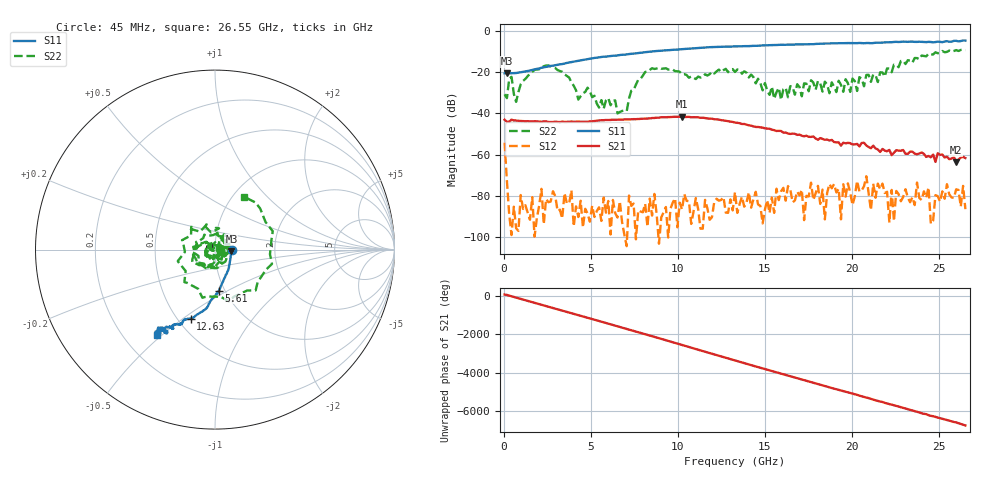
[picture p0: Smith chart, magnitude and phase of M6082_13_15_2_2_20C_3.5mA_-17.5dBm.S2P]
!  2-Port S-parameters saved by WinCal
! VAR MeasName=S-Parameters (CALIBRATED_DATA) read from VNA (C)
! VAR MeasDate=10/16/2015 12:43:09 PM
! VAR NAME=M6082_13_15_2_2_20C_3.5mA_-17.5dBm
! VAR FILENAME=M6082_13_15_2_2_20C_3.5mA_-17.5dBm.S2P
! VAR DATE=10/16/2015 12:43:09 PM
! VAR PHYS_PORTS=2,1
! VAR ObjTypeName=DATASET
! VAR IndexType=Frequency
# Hz S DB R 50
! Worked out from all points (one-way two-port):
!   201 points, 45 MHz to 26.55 GHz, reference 50 ohm
!   highest |S21| = -41.68 dB at 10.25 GHz (marker M1); lowest = -63.8 dB at 26.02 GHz (marker M2)
!   lowest |S11| = -20.7 dB at 177.5 MHz (marker M3), VSWR 1.20, Z = 60.1 - j1.04 ohm
!   |S11| at or under -10 dB: start of sweep to 8.652 GHz
!   |S22| runs from -40.1 to -9.2 dB; largest |S21 - S12| = 0.0089
!   S11 on the Smith chart (normalised r, x): 45 MHz: 1.20, -0.01; 5.61 GHz: 0.94, -0.45; 12.63 GHz: 0.58, -0.54; 26.55 GHz: 0.34, -0.48
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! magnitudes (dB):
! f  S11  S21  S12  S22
! 45 MHz  -20.7  -43.2  -54.2  -30.8
! 177.5 MHz  -20.7  -44.1  -72.7  -32.7
! 442.5 MHz  -20.6  -43.1  -98.9  -22.4
! 707.5 MHz  -20.5  -43.5  -95.6  -34.5
! 1.105 GHz  -20.0  -43.8  -86.3  -24.4
! 2.562 GHz  -17.3  -44.2  -83.0  -16.8
! 4.55 GHz  -14.2  -44.2  -95.3  -30.3
! 5.61 GHz  -12.8  -43.4  -92.1  -33.6
! 7.067 GHz  -11.5  -42.9  -104.3  -39.0
! 7.73 GHz  -10.9  -42.8  -87.0  -23.7
! 8.922 GHz  -9.8  -42.1  -103.1  -18.0
! 10.25 GHz  -9.0  -41.7  -86.6  -21.2
! 12.63 GHz  -7.8  -43.5  -80.6  -19.1
! 13.29 GHz  -7.7  -44.5  -78.1  -20.1
! 15.95 GHz  -6.9  -48.6  -77.7  -33.5
! 17.8 GHz  -6.6  -51.2  -82.0  -25.2
! 20.18 GHz  -6.1  -55.1  -80.2  -24.4
! 20.85 GHz  -6.0  -55.6  -70.5  -21.5
! 21.11 GHz  -6.1  -56.9  -86.9  -24.8
! 22.17 GHz  -5.7  -57.7  -92.9  -18.4
! 26.02 GHz  -5.0  -63.8  -76.8  -9.4
! 26.55 GHz  -4.8  -61.7  -86.4  -9.5
